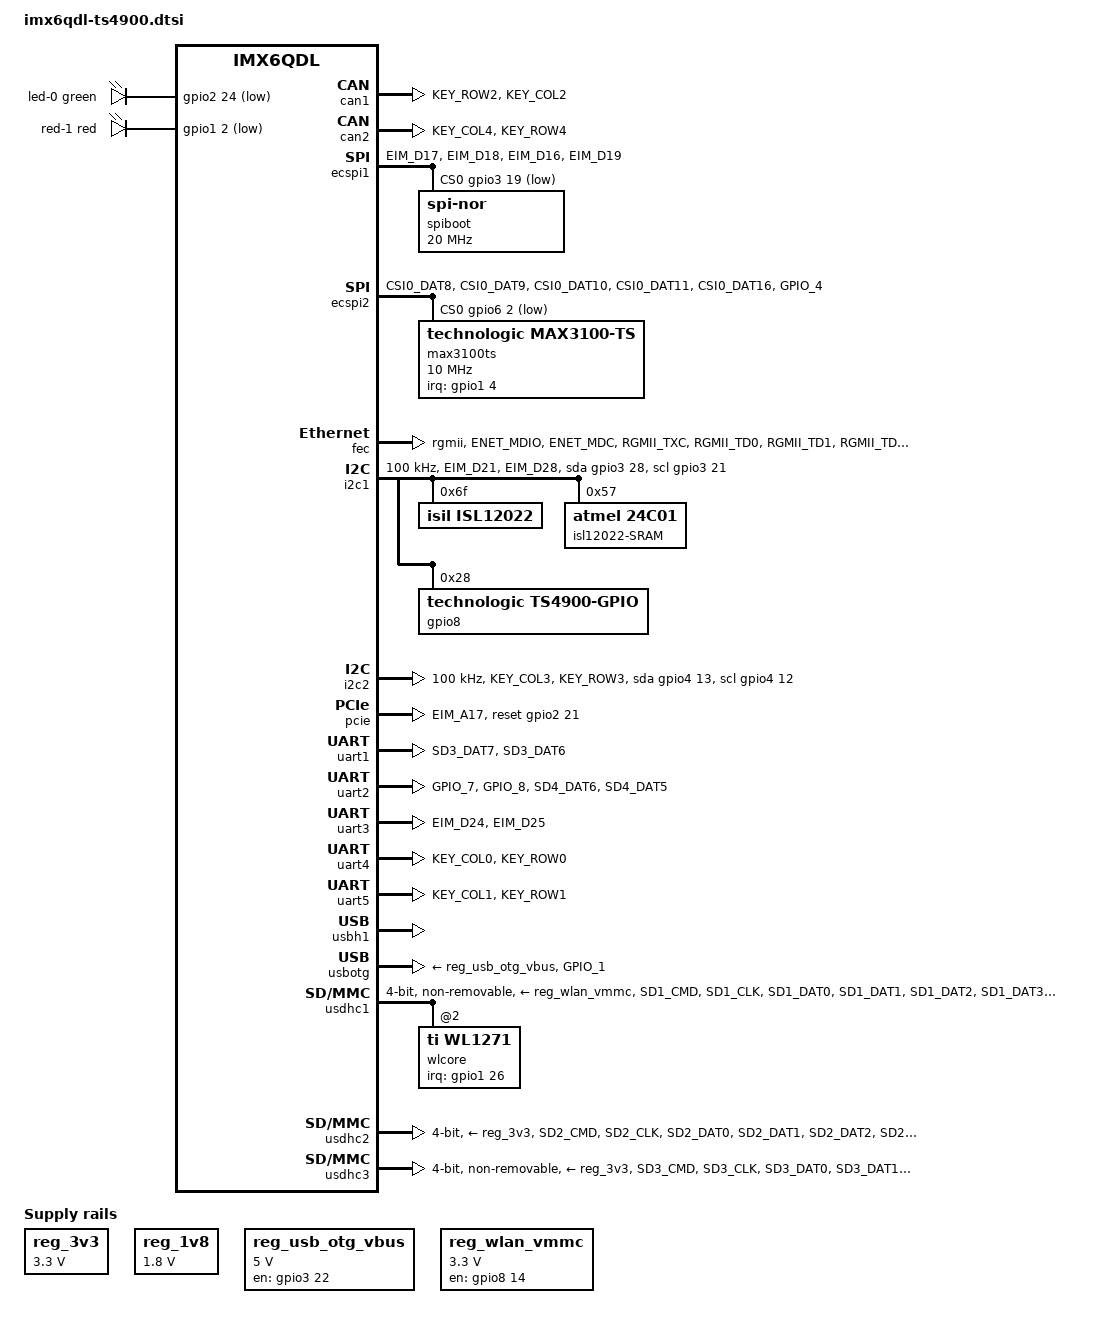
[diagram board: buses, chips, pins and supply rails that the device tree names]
// SPDX-License-Identifier: GPL-2.0 OR X11
/*
 * Copyright 2015-2022 Technologic Systems, Inc. dba embeddedTS
 */

#include <dt-bindings/leds/common.h>
#include <dt-bindings/gpio/gpio.h>
#include <dt-bindings/interrupt-controller/irq.h>

/ {
	aliases {
		ethernet0 = &fec;
	};

	led-controller {
		pinctrl-names = "default";
		pinctrl-0 = <&pinctrl_gpio_leds>;
		compatible = "gpio-leds";

		led-0 {
			color = <LED_COLOR_ID_GREEN>;
			function = LED_FUNCTION_POWER;
			gpios = <&gpio2 24 GPIO_ACTIVE_LOW>;
			default-state = "on";
		};

		red-1 {
			color = <LED_COLOR_ID_RED>;
			functino = LED_FUNCTION_STATUS;
			gpios = <&gpio1 2 GPIO_ACTIVE_LOW>;
			default-state = "off";
		};
	};

	reg_3v3: regulator-3v3 {
		compatible = "regulator-fixed";
		regulator-name = "3V3";
		regulator-min-microvolt = <3300000>;
		regulator-max-microvolt = <3300000>;
		regulator-always-on;
	};

	reg_1v8: regulator-1v8 {
		compatible = "regulator-fixed";
		regulator-name = "1V8";
		regulator-min-microvolt = <1800000>;
		regulator-max-microvolt = <1800000>;
		regulator-always-on;
	};

	reg_usb_otg_vbus: regulator-usb-otg-vbus {
		compatible = "regulator-fixed";
		regulator-name = "USB_OTG_VBUS";
		regulator-min-microvolt = <5000000>;
		regulator-max-microvolt = <5000000>;
		gpio = <&gpio3 22 GPIO_ACTIVE_HIGH>;
		enable-active-high;
	};

	reg_wlan_vmmc: regulator-wlan-vmmc {
		compatible = "regulator-fixed";
		regulator-name = "WLAN_3V3";
		regulator-min-microvolt = <3300000>;
		regulator-max-microvolt = <3300000>;
		gpio = <&gpio8 14 GPIO_ACTIVE_HIGH>;
		startup-delay-us = <70000>;
		enable-active-high;
	};
};

&can1 {
	pinctrl-names = "default";
	pinctrl-0 = <&pinctrl_flexcan1>;
	status = "okay";
};

&can2 {
	pinctrl-names = "default";
	pinctrl-0 = <&pinctrl_flexcan2>;
	status = "okay";
};

&ecspi1 {
	num-cs = <1>;
	cs-gpios = <&gpio3 19 GPIO_ACTIVE_LOW>;
	pinctrl-names = "default";
	pinctrl-0 = <&pinctrl_ecspi1>;
	status = "okay";

	spiboot: flash@0 {
		compatible = "jedec,spi-nor";
		reg = <0>;
		spi-max-frequency = <20000000>;
	};
};

&ecspi2 {
	num-cs = <1>;
	cs-gpios = <&gpio6 2 GPIO_ACTIVE_LOW>;
	pinctrl-names = "default";
	pinctrl-0 = <&pinctrl_ecspi2>;
	status = "okay";

	max3100ts: serial@0 {
		compatible = "technologic,max3100-ts";
		reg = <0>;
		interrupt-parent = <&gpio1>;
		interrupts = <4 IRQ_TYPE_LEVEL_LOW>;
		spi-max-frequency = <10000000>;
		loopback = <0>;
		crystal = <1>;
		poll-time = <100>;
	};
};

&fec {
	pinctrl-names = "default";
	pinctrl-0 = <&pinctrl_enet>;
	interrupts-extended = <&gpio1 6 IRQ_TYPE_LEVEL_HIGH>,
			      <&intc 0 119 IRQ_TYPE_LEVEL_HIGH>;
	fsl,err006687-workaround-present;
	phy-mode = "rgmii";
	status = "okay";
};

&gpio1 {
	gpio-line-names = "AUD_MCLK", "", "", "", "", "REVA_DIO_1", "", "", "",
		"REVA_DIO_3", "", "", "", "", "", "", "", "", "", "", "", "",
		"", "", "", "", "", "", "", "", "", "";
};

&gpio2 {
	gpio-line-names = "", "", "", "", "", "", "", "", "", "", "", "", "",
		"", "", "DIO_2", "DIO_18", "DIO_12", "DIO_16", "EN_LCD_3.3V",
		"DIO_14", "OFF_BD_RESET#", "EN_USB_5V#", "BUS_CS#", "", "DIO_15", "BUS_DIR",
		"BUS_ALE", "EN_SD_POWER#", "DIO_10", "", "";
};

&gpio3 {
	gpio-line-names = "MUX_AD_00", "MUX_AD_01", "MUX_AD_02", "MUX_AD_03",
		"MUX_AD_04", "MUX_AD_05", "MUX_AD_06", "MUX_AD_07", "MUX_AD_08",
		"MUX_AD_09", "MUX_AD_10", "MUX_AD_11", "MUX_AD_12", "MUX_AD_13",
		"MUX_AD_14", "MUX_AD_15", "", "", "", "", "", "", "", "", "",
		"", "", "", "", "", "", "BUS_BHE#";
};

&gpio4 {
	gpio-line-names = "", "", "", "", "", "DIO_7", "", "", "", "", "", "",
		"", "", "", "", "LCD_CLK", "LCD_DE", "LCD_HSYNC", "LCD_VSYNC",
		"", "LCD_D00", "LCD_D01", "LCD_D02", "LCD_D03", "LCD_D04",
		"LCD_D05", "LCD_D06", "LCD_D07", "LCD_D08", "LCD_D08",
		"LCD_D10";
};

&gpio5 {
	gpio-line-names = "EIM_WAIT#", "", "", "", "DIO_20", "LCD_D11",
		"LCD_D12", "LCD_D13", "LCD_D14", "LCD_D15", "LCD_D16",
		"LCD_D17","LCD_D18", "LCD_D19", "LCD_D20", "LCD_D21",
		"LCD_D22", "LCD_D23", "DIO_9", "DIO_8", "FPGA_DONE",
		"FPGA_RESET#", "AUD_CLK", "AUD_TXD", "AUD_FRM", "AUD_RXD",
		"", "", "", "", "DIO_0", "DIO_6";
};

&gpio6 {
	gpio-line-names = "", "", "", "CPU_DIO_A", "", "", "DIO_19", "", "",
		"", "", "", "", "", "", "", "", "", "", "", "", "", "", "", "",
		"", "", "", "", "", "", "DIO_13";
};

&gpio7 {
	gpio-line-names = "", "", "", "", "", "", "", "", "CPU_DIO_B", "", "",
		"DIO_4", "DIO_5", "", "", "", "", "", "", "", "", "", "", "",
		"", "", "", "", "", "", "", "";
};

&i2c1 {
	clock-frequency = <100000>;
	pinctrl-names = "default", "gpio";
	pinctrl-0 = <&pinctrl_i2c1>;
	pinctrl-1 = <&pinctrl_i2c1_gpio>;
	scl-gpios = <&gpio3 21 (GPIO_ACTIVE_HIGH | GPIO_OPEN_DRAIN)>;
	sda-gpios = <&gpio3 28 (GPIO_ACTIVE_HIGH | GPIO_OPEN_DRAIN)>;
	status = "okay";

	isl12022: rtc@6f {
		compatible = "isil,isl12022";
		reg = <0x6f>;
		btse-minutes = <1>;
		vb75t = <2>; /* 2.25 V */
		vb85t = <2>; /* 2.55 V */
	};

	isl12022_sram: eeprom@57 {
		compatible = "atmel,24c01";
		reg = <0x57>;
		label = "isl12022-SRAM";
		pagesize = <128>;
		size = <128>;
		address-width = <8>;
	};

	gpio8: gpio@28 {
		compatible = "technologic,ts4900-gpio";
		reg = <0x28>;
		#gpio-cells = <2>;
		gpio-controller;
		base = <224>;
		ngpios = <32>;

		gpio-line-names = "CN1_63", "CN1_67", "CN1_87", "REVA_MUX_AD_15",
			"REVA_CN2_54", "CN2_78", "CN2_80", "CN2_86", "CN2_88",
			"CN2_94", "CN2_96", "CN2_98", "CN2_100", "", "", "", "",
			"", "", "", "",	"", "", "", "", "", "", "", "", "", "",
			"PUSH_SW#";
	};
};

&i2c2 {
	clock-frequency = <100000>;
	pinctrl-names = "default", "gpio";
	pinctrl-0 = <&pinctrl_i2c2>;
	pinctrl-1 = <&pinctrl_i2c2_gpio>;
	scl-gpios = <&gpio4 12 (GPIO_ACTIVE_HIGH | GPIO_OPEN_DRAIN)>;
	sda-gpios = <&gpio4 13 (GPIO_ACTIVE_HIGH | GPIO_OPEN_DRAIN)>;
	status = "okay";
};

&iomuxc {
	pinctrl-names = "default";
	pinctrl-0 = <&pinctrl_hog>;

	pinctrl_ecspi1: ecspi1grp {
		fsl,pins = <
			MX6QDL_PAD_EIM_D17__ECSPI1_MISO			0x100b1
			MX6QDL_PAD_EIM_D18__ECSPI1_MOSI			0x100b1
			MX6QDL_PAD_EIM_D16__ECSPI1_SCLK			0x100b1
			MX6QDL_PAD_EIM_D19__GPIO3_IO19			0x100b1 /* Onboard flash CS1# */
		>;
	};

	pinctrl_ecspi2: ecspi2grp {
		fsl,pins = <
			MX6QDL_PAD_CSI0_DAT8__ECSPI2_SCLK		0x100b1
			MX6QDL_PAD_CSI0_DAT9__ECSPI2_MOSI		0x100b1
			MX6QDL_PAD_CSI0_DAT10__ECSPI2_MISO		0x100b1
			MX6QDL_PAD_CSI0_DAT11__GPIO5_IO29		0x100b1 /* Offboard CS0# */
			MX6QDL_PAD_CSI0_DAT16__GPIO6_IO02		0x100b1 /* FPGA CS1# */
			MX6QDL_PAD_GPIO_4__GPIO1_IO04			0x1b0b1 /* FPGA_IRQ */
		>;
	};

	pinctrl_enet: enetgrp {
		fsl,pins = <
			MX6QDL_PAD_ENET_MDIO__ENET_MDIO			0x1b0b0
			MX6QDL_PAD_ENET_MDC__ENET_MDC			0x1b0b0
			MX6QDL_PAD_RGMII_TXC__RGMII_TXC			0x1b030
			MX6QDL_PAD_RGMII_TD0__RGMII_TD0			0x1b030
			MX6QDL_PAD_RGMII_TD1__RGMII_TD1			0x1b030
			MX6QDL_PAD_RGMII_TD2__RGMII_TD2			0x1b030
			MX6QDL_PAD_RGMII_TD3__RGMII_TD3			0x1b030
			MX6QDL_PAD_RGMII_TX_CTL__RGMII_TX_CTL		0x1b030
			MX6QDL_PAD_RGMII_RXC__RGMII_RXC			0x1b030
			MX6QDL_PAD_RGMII_RD0__RGMII_RD0			0x1b030
			MX6QDL_PAD_RGMII_RD1__RGMII_RD1			0x1b030
			MX6QDL_PAD_RGMII_RD2__RGMII_RD2			0x1b030
			MX6QDL_PAD_RGMII_RD3__RGMII_RD3			0x1b030
			MX6QDL_PAD_RGMII_RX_CTL__RGMII_RX_CTL		0x1b030
			MX6QDL_PAD_ENET_REF_CLK__ENET_TX_CLK		0x4001b0a8
			MX6QDL_PAD_ENET_TX_EN__GPIO1_IO28		0x1b0b1
			MX6QDL_PAD_DI0_PIN4__GPIO4_IO20			0x1b0b1 /* ETH_PHY_RESET */
			MX6QDL_PAD_GPIO_6__ENET_IRQ			0x000b1
		>;
	};

	pinctrl_flexcan1: flexcan1grp {
		fsl,pins = <
			MX6QDL_PAD_KEY_ROW2__FLEXCAN1_RX		0x1b0b1
			MX6QDL_PAD_KEY_COL2__FLEXCAN1_TX		0x1b0b1
		>;
	};

	pinctrl_flexcan2: flexcan2grp {
		fsl,pins = <
			MX6QDL_PAD_KEY_COL4__FLEXCAN2_TX		0x1b0b1
			MX6QDL_PAD_KEY_ROW4__FLEXCAN2_RX		0x1b0b1
		>;
	};

	pinctrl_pcie: pciegrp {
		fsl,pins = <
			MX6QDL_PAD_EIM_A17__GPIO2_IO21			0x1b088 /* OFF_BD_RESET#/PE_RST# */
		>;
	};

	/* Pins common to ALL baseboards that are always GPIO */
	pinctrl_hog: hoggrp {
		fsl,pins = <
			MX6QDL_PAD_SD4_DAT7__GPIO2_IO15			0x1b0b1 /* DIO_2 */
			MX6QDL_PAD_EIM_A22__GPIO2_IO16			0x1b0b1 /* DIO_18 */
			MX6QDL_PAD_EIM_A21__GPIO2_IO17			0x1b0b1 /* DIO_12 */
			MX6QDL_PAD_EIM_A20__GPIO2_IO18			0x1b0b1 /* DIO_16 */
			MX6QDL_PAD_EIM_A18__GPIO2_IO20			0x1b0b1 /* DIO_14 */
			MX6QDL_PAD_EIM_A16__GPIO2_IO22			0x1b0b1 /* EN_USB_5V# */
			MX6QDL_PAD_EIM_OE__GPIO2_IO25			0x1b0b1 /* DIO_15 */
			MX6QDL_PAD_GPIO_19__GPIO4_IO05			0x1b0b1 /* DIO_7 */
			MX6QDL_PAD_EIM_A24__GPIO5_IO04			0x1b0b1 /* DIO_20 */
			MX6QDL_PAD_CSI0_PIXCLK__GPIO5_IO18		0x1b0b1 /* DIO_9 */
			MX6QDL_PAD_CSI0_MCLK__GPIO5_IO19		0x1b0b1 /* DIO_8 */
			MX6QDL_PAD_CSI0_DATA_EN__GPIO5_IO20		0x1b0b1 /* FPGA_DONE */
			MX6QDL_PAD_CSI0_VSYNC__GPIO5_IO21		0x1b0b1 /* FPGA_RESET# */
			MX6QDL_PAD_CSI0_DAT12__GPIO5_IO30		0x1b0b1 /* DIO_0 */
			MX6QDL_PAD_CSI0_DAT13__GPIO5_IO31		0x1b0b1 /* DIO_6 */
			MX6QDL_PAD_CSI0_DAT17__GPIO6_IO03		0x1b0b1 /* CPU_DIO_A */
			MX6QDL_PAD_EIM_A23__GPIO6_IO06			0x1b0b1 /* DIO_19 */
			MX6QDL_PAD_GPIO_16__GPIO7_IO11			0x1b0b1 /* DIO_4 */
			MX6QDL_PAD_GPIO_17__GPIO7_IO12			0x1b0b1 /* DIO_5 */
			MX6QDL_PAD_SD3_RST__GPIO7_IO08			0x1b0b1 /* CPU_DIO_B */
			MX6QDL_PAD_EIM_BCLK__GPIO6_IO31			0x1b0b1 /* DIO_13 */
			MX6QDL_PAD_GPIO_3__XTALOSC_REF_CLK_24M		0x10    /* FPGA 24MHZ */
			/* Only on rev A PCBs */
			MX6QDL_PAD_GPIO_5__GPIO1_IO05			0x1b0b1 /* DIO_1 */
			MX6QDL_PAD_GPIO_9__GPIO1_IO09			0x1b0b1 /* DIO_3 */
		>;
	};

	pinctrl_muxbus_gpio: mbgpiogrp {
		fsl,pins = <
			MX6QDL_PAD_EIM_D31__GPIO3_IO31			0x1b0b1 /* DIO_10 */
			MX6QDL_PAD_EIM_EB1__GPIO2_IO29			0x1b0b1 /* BUS_BHE# */

			MX6QDL_PAD_EIM_WAIT__GPIO5_IO00			0x1b0b1 /* EIM_WAIT# */
			MX6QDL_PAD_EIM_CS0__GPIO2_IO23			0x1b0b1 /* BUS_CS# */
			MX6QDL_PAD_EIM_RW__GPIO2_IO26			0x1b0b1 /* BUS_DIR */
			MX6QDL_PAD_EIM_LBA__GPIO2_IO27			0x1b0b1 /* BUS_ALE# */
			MX6QDL_PAD_EIM_DA0__GPIO3_IO00			0x1b0b1 /* MUX_AD_00 */
			MX6QDL_PAD_EIM_DA1__GPIO3_IO01			0x1b0b1 /* MUX_AD_01 */
			MX6QDL_PAD_EIM_DA2__GPIO3_IO02			0x1b0b1 /* MUX_AD_02 */
			MX6QDL_PAD_EIM_DA3__GPIO3_IO03			0x1b0b1 /* MUX_AD_03 */
			MX6QDL_PAD_EIM_DA4__GPIO3_IO04			0x1b0b1 /* MUX_AD_04 */
			MX6QDL_PAD_EIM_DA5__GPIO3_IO05			0x1b0b1 /* MUX_AD_05 */
			MX6QDL_PAD_EIM_DA6__GPIO3_IO06			0x1b0b1 /* MUX_AD_06 */
			MX6QDL_PAD_EIM_DA7__GPIO3_IO07			0x1b0b1 /* MUX_AD_07 */
			MX6QDL_PAD_EIM_DA8__GPIO3_IO08			0x1b0b1 /* MUX_AD_08 */
			MX6QDL_PAD_EIM_DA9__GPIO3_IO09			0x1b0b1 /* MUX_AD_09 */
			MX6QDL_PAD_EIM_DA10__GPIO3_IO10			0x1b0b1 /* MUX_AD_10 */
			MX6QDL_PAD_EIM_DA11__GPIO3_IO11			0x1b0b1 /* MUX_AD_11 */
			MX6QDL_PAD_EIM_DA12__GPIO3_IO12			0x1b0b1 /* MUX_AD_12 */
			MX6QDL_PAD_EIM_DA13__GPIO3_IO13			0x1b0b1 /* MUX_AD_13 */
			MX6QDL_PAD_EIM_DA14__GPIO3_IO14			0x1b0b1 /* MUX_AD_14 */
			MX6QDL_PAD_EIM_DA15__GPIO3_IO15			0x1b0b1 /* MUX_AD_15 */
		>;
	};

	pinctrl_bb_spi: bbspigrp {
		fsl,pins = <
			MX6QDL_PAD_EIM_DA11__GPIO3_IO11			0x1b088 /* IRQn (usually) */
			MX6QDL_PAD_EIM_DA12__GPIO3_IO12			0x1b088 /* CS# */
			MX6QDL_PAD_EIM_DA13__GPIO3_IO13			0x1b088 /* MISO */
			MX6QDL_PAD_EIM_DA14__GPIO3_IO14			0x1b088 /* MOSI */
			MX6QDL_PAD_EIM_DA15__GPIO3_IO15			0x1b088 /* CLK */
		>;
	};

	pinctrl_i2s: i2sgrp {
		fsl,pins = <
			MX6QDL_PAD_CSI0_DAT7__AUD3_RXD			0x130b0
			MX6QDL_PAD_CSI0_DAT4__AUD3_TXC			0x130b0
			MX6QDL_PAD_CSI0_DAT5__AUD3_TXD			0x110b0
			MX6QDL_PAD_CSI0_DAT6__AUD3_TXFS			0x130b0
			MX6QDL_PAD_GPIO_0__CCM_CLKO1			0x130b0 /* Audio CLK */
		>;
	};

	pinctrl_i2s_gpio: i2sgpiogrp {
		fsl,pins = <
			MX6QDL_PAD_GPIO_0__GPIO1_IO00			0x130b0 /* AUD_MCLK */
			MX6QDL_PAD_CSI0_DAT4__GPIO5_IO22		0x1b0b1 /* AUD_CLK */
			MX6QDL_PAD_CSI0_DAT5__GPIO5_IO23		0x1b0b1 /* AUD_TXD */
			MX6QDL_PAD_CSI0_DAT6__GPIO5_IO24		0x1b0b1 /* AUD_FRM */
			MX6QDL_PAD_CSI0_DAT7__GPIO5_IO25		0x1b0b1 /* AUD_RXD */
		>;
	};

	pinctrl_lcd: lcdgrp {
		fsl,pins = <
			MX6QDL_PAD_DI0_DISP_CLK__IPU1_DI0_DISP_CLK	0x38
			MX6QDL_PAD_DI0_PIN15__IPU1_DI0_PIN15		0xe0 /* DE */
			MX6QDL_PAD_DI0_PIN2__IPU1_DI0_PIN02		0xe0 /* Hsync */
			MX6QDL_PAD_DI0_PIN3__IPU1_DI0_PIN03		0xe0 /* Vsync */
			MX6QDL_PAD_DISP0_DAT0__IPU1_DISP0_DATA00	0xe0
			MX6QDL_PAD_DISP0_DAT1__IPU1_DISP0_DATA01	0xe0
			MX6QDL_PAD_DISP0_DAT2__IPU1_DISP0_DATA02	0xe0
			MX6QDL_PAD_DISP0_DAT3__IPU1_DISP0_DATA03	0xe0
			MX6QDL_PAD_DISP0_DAT4__IPU1_DISP0_DATA04	0xe0
			MX6QDL_PAD_DISP0_DAT5__IPU1_DISP0_DATA05	0xe0
			MX6QDL_PAD_DISP0_DAT6__IPU1_DISP0_DATA06	0xe0
			MX6QDL_PAD_DISP0_DAT7__IPU1_DISP0_DATA07	0xe0
			MX6QDL_PAD_DISP0_DAT8__IPU1_DISP0_DATA08	0xe0
			MX6QDL_PAD_DISP0_DAT9__IPU1_DISP0_DATA09	0xe0
			MX6QDL_PAD_DISP0_DAT10__IPU1_DISP0_DATA10	0xe0
			MX6QDL_PAD_DISP0_DAT11__IPU1_DISP0_DATA11	0xe0
			MX6QDL_PAD_DISP0_DAT12__IPU1_DISP0_DATA12	0xe0
			MX6QDL_PAD_DISP0_DAT13__IPU1_DISP0_DATA13	0xe0
			MX6QDL_PAD_DISP0_DAT14__IPU1_DISP0_DATA14	0xe0
			MX6QDL_PAD_DISP0_DAT15__IPU1_DISP0_DATA15	0xe0
			MX6QDL_PAD_DISP0_DAT16__IPU1_DISP0_DATA16	0xe0
			MX6QDL_PAD_DISP0_DAT17__IPU1_DISP0_DATA17	0xe0
			MX6QDL_PAD_DISP0_DAT18__IPU1_DISP0_DATA18	0xe0
			MX6QDL_PAD_DISP0_DAT19__IPU1_DISP0_DATA19	0xe0
			MX6QDL_PAD_DISP0_DAT20__IPU1_DISP0_DATA20	0xe0
			MX6QDL_PAD_DISP0_DAT21__IPU1_DISP0_DATA21	0xe0
			MX6QDL_PAD_DISP0_DAT22__IPU1_DISP0_DATA22	0xe0
			MX6QDL_PAD_DISP0_DAT23__IPU1_DISP0_DATA23	0xe0
		>;
	};

	pinctrl_lcd_gpio: lcdgpiogrp {
		fsl,pins = <
			MX6QDL_PAD_EIM_A19__GPIO2_IO19			0x1b0b1 /* EN_LCD_3.3V */
			MX6QDL_PAD_DI0_DISP_CLK__GPIO4_IO16		0x1b0b1 /* LCD_CLK */
			MX6QDL_PAD_DI0_PIN15__GPIO4_IO17		0x1b0b1 /* DE */
			MX6QDL_PAD_DI0_PIN2__GPIO4_IO18			0x1b0b1 /* Hsync */
			MX6QDL_PAD_DI0_PIN3__GPIO4_IO19			0x1b0b1 /* Vsync */
			MX6QDL_PAD_DISP0_DAT0__GPIO4_IO21		0x1b0b1
			MX6QDL_PAD_DISP0_DAT1__GPIO4_IO22		0x1b0b1
			MX6QDL_PAD_DISP0_DAT2__GPIO4_IO23		0x1b0b1
			MX6QDL_PAD_DISP0_DAT3__GPIO4_IO24		0x1b0b1
			MX6QDL_PAD_DISP0_DAT4__GPIO4_IO25		0x1b0b1
			MX6QDL_PAD_DISP0_DAT5__GPIO4_IO26		0x1b0b1
			MX6QDL_PAD_DISP0_DAT6__GPIO4_IO27		0x1b0b1
			MX6QDL_PAD_DISP0_DAT7__GPIO4_IO28		0x1b0b1
			MX6QDL_PAD_DISP0_DAT8__GPIO4_IO29		0x1b0b1
			MX6QDL_PAD_DISP0_DAT9__GPIO4_IO30		0x1b0b1
			MX6QDL_PAD_DISP0_DAT10__GPIO4_IO31		0x1b0b1
			MX6QDL_PAD_DISP0_DAT11__GPIO5_IO05		0x1b0b1
			MX6QDL_PAD_DISP0_DAT12__GPIO5_IO06		0x1b0b1
			MX6QDL_PAD_DISP0_DAT13__GPIO5_IO07		0x1b0b1
			MX6QDL_PAD_DISP0_DAT14__GPIO5_IO08		0x1b0b1
			MX6QDL_PAD_DISP0_DAT15__GPIO5_IO09		0x1b0b1
			MX6QDL_PAD_DISP0_DAT16__GPIO5_IO10		0x1b0b1
			MX6QDL_PAD_DISP0_DAT17__GPIO5_IO11		0x1b0b1
			MX6QDL_PAD_DISP0_DAT18__GPIO5_IO12		0x1b0b1
			MX6QDL_PAD_DISP0_DAT19__GPIO5_IO13		0x1b0b1
			MX6QDL_PAD_DISP0_DAT20__GPIO5_IO14		0x1b0b1
			MX6QDL_PAD_DISP0_DAT21__GPIO5_IO15		0x1b0b1
			MX6QDL_PAD_DISP0_DAT22__GPIO5_IO16		0x1b0b1
			MX6QDL_PAD_DISP0_DAT23__GPIO5_IO17		0x1b0b1
		>;
	};

	pinctrl_i2c1: i2c1grp {
		fsl,pins = <
			MX6QDL_PAD_EIM_D21__I2C1_SCL			0x4001b8b1
			MX6QDL_PAD_EIM_D28__I2C1_SDA			0x4001b8b1
		>;
	};

	pinctrl_i2c1_gpio: i2c1gpiogrp {
		fsl,pins = <
			MX6QDL_PAD_EIM_D21__GPIO3_IO21			0x4001b8b1
			MX6QDL_PAD_EIM_D28__GPIO3_IO28			0x4001b8b1
		>;
	};

	pinctrl_i2c2: i2c2grp {
		fsl,pins = <
			MX6QDL_PAD_KEY_COL3__I2C2_SCL			0x4001b8b1
			MX6QDL_PAD_KEY_ROW3__I2C2_SDA			0x4001b8b1
		>;
	};

	pinctrl_i2c2_gpio: i2c2gpiogrp {
		fsl,pins = <
			MX6QDL_PAD_KEY_COL3__GPIO4_IO12			0x4001b8b1
			MX6QDL_PAD_KEY_ROW3__GPIO4_IO13			0x4001b8b1
		>;
	};

	pinctrl_gpio_leds: leds1grp {
		fsl,pins = <
			MX6QDL_PAD_GPIO_2__GPIO1_IO02			0x1b0b1 /* RED_LED# */
			MX6QDL_PAD_EIM_CS1__GPIO2_IO24			0x1b0b1 /* GREEN_LED# */
		>;
	};

	pinctrl_uart1: uart1grp {
		fsl,pins = <
			MX6QDL_PAD_SD3_DAT7__UART1_TX_DATA		0x1b0b1
			MX6QDL_PAD_SD3_DAT6__UART1_RX_DATA		0x1b0b1
		>;
	};

	pinctrl_uart2: uart2grp {
		fsl,pins = <
			MX6QDL_PAD_GPIO_7__UART2_TX_DATA		0x1b0b1
			MX6QDL_PAD_GPIO_8__UART2_RX_DATA		0x1b0b1
			MX6QDL_PAD_SD4_DAT6__UART2_CTS_B		0x1b0b1
			MX6QDL_PAD_SD4_DAT5__UART2_RTS_B		0x1b0b1
		>;
	};

	pinctrl_uart3: uart3grp {
		fsl,pins = <
			MX6QDL_PAD_EIM_D24__UART3_TX_DATA		0x1b0b1
			MX6QDL_PAD_EIM_D25__UART3_RX_DATA		0x1b0b1
		>;
	};

	pinctrl_uart4: uart4grp {
		fsl,pins = <
			MX6QDL_PAD_KEY_COL0__UART4_TX_DATA		0x1b0b1
			MX6QDL_PAD_KEY_ROW0__UART4_RX_DATA		0x1b0b1
		>;
	};

	pinctrl_uart5: uart5grp {
		fsl,pins = <
			MX6QDL_PAD_KEY_COL1__UART5_TX_DATA		0x1b0b1
			MX6QDL_PAD_KEY_ROW1__UART5_RX_DATA		0x1b0b1
		>;
	};

	pinctrl_usbotg: usbotggrp {
		fsl,pins = <
			MX6QDL_PAD_GPIO_1__USB_OTG_ID			0x17059
		>;
	};

	pinctrl_usdhc1: usdhc1grp {
		fsl,pins = <
			MX6QDL_PAD_SD1_CMD__SD1_CMD			0x17059
			MX6QDL_PAD_SD1_CLK__SD1_CLK			0x17059
			MX6QDL_PAD_SD1_DAT0__SD1_DATA0			0x17059
			MX6QDL_PAD_SD1_DAT1__SD1_DATA1			0x17059
			MX6QDL_PAD_SD1_DAT2__SD1_DATA2			0x17059
			MX6QDL_PAD_SD1_DAT3__SD1_DATA3			0x17059
			MX6QDL_PAD_ENET_RXD0__GPIO1_IO27		0x17059 /* BT_EN */
			MX6QDL_PAD_ENET_RXD1__GPIO1_IO26		0x17059 /* WIFI IRQ / WIFI_EN */
		>;
	};

	pinctrl_usdhc1_100mhz: usdhc1grp-100mhz {
		fsl,pins = <
			MX6QDL_PAD_SD1_CMD__SD1_CMD			0x170B9
			MX6QDL_PAD_SD1_CLK__SD1_CLK			0x100B9
			MX6QDL_PAD_SD1_DAT0__SD1_DATA0			0x170B9
			MX6QDL_PAD_SD1_DAT1__SD1_DATA1			0x170B9
			MX6QDL_PAD_SD1_DAT2__SD1_DATA2			0x170B9
			MX6QDL_PAD_SD1_DAT3__SD1_DATA3			0x170B9
		>;
	};

	pinctrl_usdhc1_200mhz: usdhc1grp-200mhz {
		fsl,pins = <
			MX6QDL_PAD_SD1_CMD__SD1_CMD			0x170F9
			MX6QDL_PAD_SD1_CLK__SD1_CLK			0x100F9
			MX6QDL_PAD_SD1_DAT0__SD1_DATA0			0x170F9
			MX6QDL_PAD_SD1_DAT1__SD1_DATA1			0x170F9
			MX6QDL_PAD_SD1_DAT2__SD1_DATA2			0x170F9
			MX6QDL_PAD_SD1_DAT3__SD1_DATA3			0x170F9
		>;
	};

	pinctrl_usdhc2: usdhc2grp {
		fsl,pins = <
			MX6QDL_PAD_SD2_CMD__SD2_CMD			0x17059
			MX6QDL_PAD_SD2_CLK__SD2_CLK			0x10059
			MX6QDL_PAD_SD2_DAT0__SD2_DATA0			0x17059
			MX6QDL_PAD_SD2_DAT1__SD2_DATA1			0x17059
			MX6QDL_PAD_SD2_DAT2__SD2_DATA2			0x17059
			MX6QDL_PAD_SD2_DAT3__SD2_DATA3			0x17059
			MX6QDL_PAD_EIM_EB0__GPIO2_IO28			0x1b0b1 /* EN_SD_POWER# */
		>;
	};

	pinctrl_usdhc3: usdhc3grp {
		fsl,pins = <
			MX6QDL_PAD_SD3_CMD__SD3_CMD			0x17059
			MX6QDL_PAD_SD3_CLK__SD3_CLK			0x10059
			MX6QDL_PAD_SD3_DAT0__SD3_DATA0			0x17059
			MX6QDL_PAD_SD3_DAT1__SD3_DATA1			0x17059
			MX6QDL_PAD_SD3_DAT2__SD3_DATA2			0x17059
			MX6QDL_PAD_SD3_DAT3__SD3_DATA3			0x17059
		>;
	};
};

&pcie {
	pinctrl-names = "default";
	pinctrl-0 = <&pinctrl_pcie>;
	reset-gpio = <&gpio2 21 GPIO_ACTIVE_HIGH>;
	status = "okay";
};

&snvs_rtc {
	status = "disabled";
};

&uart1 {
	pinctrl-names = "default";
	pinctrl-0 = <&pinctrl_uart1>;
	status = "okay";
};

&uart2 {
	pinctrl-names = "default";
	pinctrl-0 = <&pinctrl_uart2>;
	uart-has-rtscts;
	status = "okay";
};

&uart3 {
	pinctrl-names = "default";
	pinctrl-0 = <&pinctrl_uart3>;
	status = "okay";
};

&uart4 {
	pinctrl-names = "default";
	pinctrl-0 = <&pinctrl_uart4>;
	status = "okay";
};

&uart5 {
	pinctrl-names = "default";
	pinctrl-0 = <&pinctrl_uart5>;
	status = "okay";
};

&usbh1 {
	disable-over-current;
	status = "okay";
};

&usbotg {
	vbus-supply = <&reg_usb_otg_vbus>;
	pinctrl-names = "default";
	pinctrl-0 = <&pinctrl_usbotg>;
	disable-over-current;
	status = "okay";
};

&usdhc1 {
	pinctrl-names = "default", "state_100mhz", "state_200mhz";
	pinctrl-0 = <&pinctrl_usdhc1>;
	pinctrl-1 = <&pinctrl_usdhc1_100mhz>;
	pinctrl-2 = <&pinctrl_usdhc1_200mhz>;
	vmmc-supply = <&reg_wlan_vmmc>;
	vqmmc-supply = <&reg_1v8>;
	bus-width = <4>;
	non-removable;
	keep-power-in-suspend;
	cap-sdio-irq;
	fsl,tuning-step = <2>;
	#address-cells = <1>;
	#size-cells = <0>;
	status = "okay";

	wlcore: wlcore@2 {
		compatible = "ti,wl1271";
		reg = <2>;
		interrupt-parent = <&gpio1>;
		interrupts = <26 IRQ_TYPE_LEVEL_HIGH>;
		ref-clock-frequency = <38400000>;
	};
};

/* SD */
&usdhc2 {
	pinctrl-names = "default";
	pinctrl-0 = <&pinctrl_usdhc2>;
	vmmc-supply = <&reg_3v3>;
	bus-width = <4>;
	fsl,wp-controller;
	status = "okay";
};

/* eMMC */
&usdhc3 {
	pinctrl-names = "default";
	pinctrl-0 = <&pinctrl_usdhc3>;
	vmmc-supply = <&reg_3v3>;
	bus-width = <4>;
	non-removable;
	status = "okay";
};
